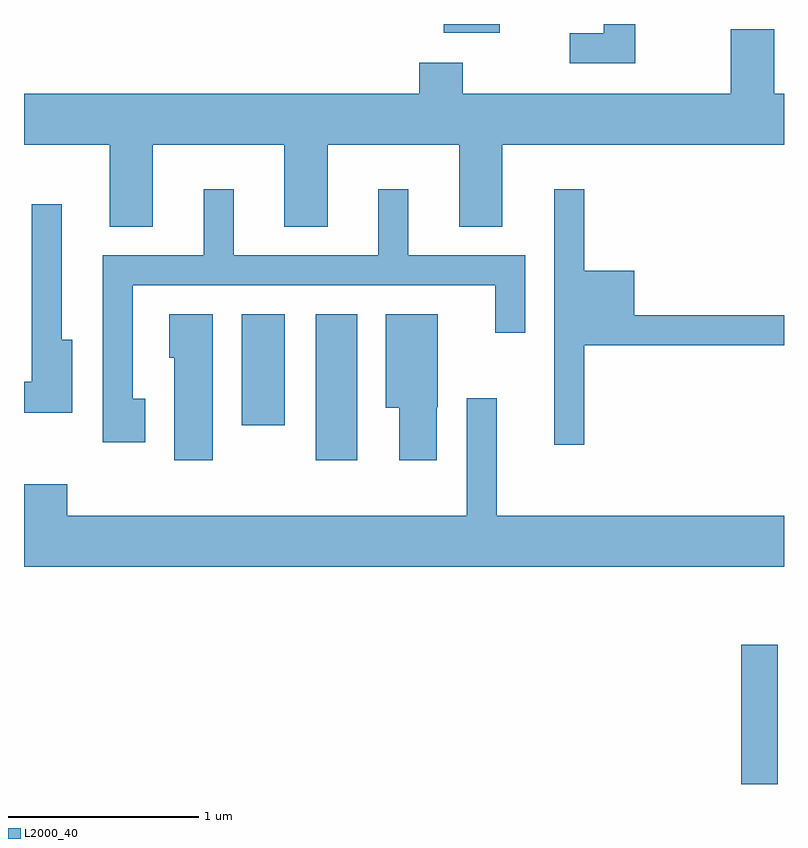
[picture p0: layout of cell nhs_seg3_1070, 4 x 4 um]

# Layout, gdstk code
import gdstk
lib = gdstk.Library(unit=1e-6, precision=1e-09)
def R(c, l, rs):  # rectangles x0, y0, x1, y1
    for r in rs: c.add(gdstk.rectangle(r[:2], r[2:], *l))
def P(c, l, *ps):  # polygons
    for p in ps: c.add(gdstk.Polygon(p, *l))
L2000_40 = (2000, 40)

nhs_seg3_1070 = lib.new_cell('nhs_seg3_1070')
R(nhs_seg3_1070, L2000_40, [(219.386,1215.892,219.579,1216.624), (217.146,1217.596,217.364,1218.364), (216.756,1217.781,216.984,1218.364), (217.821,1219.846,218.114,1219.892)])
P(nhs_seg3_1070, L2000_40, [(218.829,1219.892),(218.661,1219.892),(218.661,1219.844),(218.483,1219.844),(218.483,1219.686),(218.829,1219.686)],
  [(216.289,1219.256),(216.981,1219.256),(216.981,1218.826),(217.209,1218.826),(217.209,1219.256),(217.901,1219.256),(217.901,1218.826),(218.129,1218.826),(218.129,1219.256),(219.611,1219.256),(219.611,1219.524),(219.559,1219.524),(219.559,1219.864),(219.331,1219.864),(219.331,1219.524),(217.919,1219.524),(217.919,1219.689),(217.691,1219.689),(217.691,1219.524),(215.611,1219.524),(215.611,1219.256),(216.061,1219.256),(216.061,1218.826),(216.289,1218.826)],
  [(218.559,1218.201),(219.611,1218.201),(219.611,1218.359),(218.824,1218.359),(218.824,1218.594),(218.559,1218.594),(218.559,1219.023),(218.401,1219.023),(218.401,1217.678),(218.559,1217.678)],
  [(216.249,1217.919),(216.184,1217.919),(216.184,1218.516),(218.091,1218.516),(218.091,1218.268),(218.249,1218.268),(218.249,1218.674),(217.634,1218.674),(217.634,1219.023),(217.476,1219.023),(217.476,1218.674),(216.714,1218.674),(216.714,1219.023),(216.556,1219.023),(216.556,1218.674),(216.026,1218.674),(216.026,1217.691),(216.249,1217.691)],
  [(215.864,1218.229),(215.809,1218.229),(215.809,1218.943),(215.651,1218.943),(215.651,1218.009),(215.611,1218.009),(215.611,1217.846),(215.864,1217.846)],
  [(217.784,1217.875),(217.789,1217.875),(217.789,1218.364),(217.516,1218.364),(217.516,1217.871),(217.586,1217.871),(217.586,1217.596),(217.784,1217.596)],
  [(216.604,1218.364),(216.376,1218.364),(216.376,1218.136),(216.401,1218.136),(216.401,1217.596),(216.604,1217.596)],
  [(219.611,1217.304),(218.099,1217.304),(218.099,1217.923),(217.941,1217.923),(217.941,1217.304),(215.839,1217.304),(215.839,1217.469),(215.611,1217.469),(215.611,1217.036),(219.611,1217.036)])

lib.write_gds('nhs_seg3_1070.gds')
